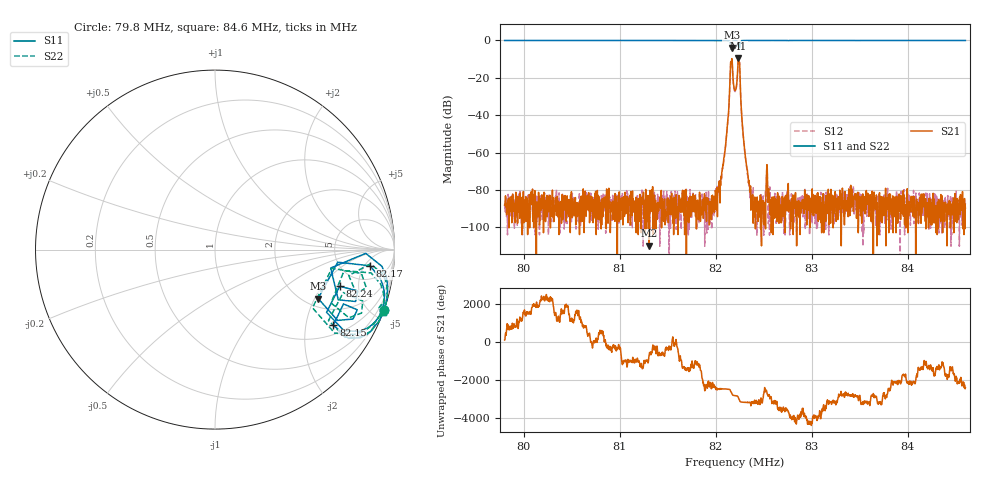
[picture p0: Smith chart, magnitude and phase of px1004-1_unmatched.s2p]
!PX1004-1 UNMATCHED
# HZ S RI R 50
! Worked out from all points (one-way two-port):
!   1601 points, 79.8 MHz to 84.6 MHz, reference 50 ohm
!   highest |S21| = -9.39 dB at 82.24 MHz (marker M1); lowest = -109.8 dB at 81.31 MHz (marker M2)
!   lowest |S11| = -3.9 dB at 82.17 MHz (marker M3), VSWR 4.50, Z = 117 - j107 ohm
!   |S11| at or under -10 dB: nowhere
!   |S22| runs from -4.0 to 0.0 dB; largest |S21 - S12| = 0.019
!   S11 on the Smith chart (normalised r, x): 79.8 MHz: 0.03, -5.80; 82.15 MHz: 1.32, -2.87; 82.17 MHz: 9, -7; 82.24 MHz: 3.53, -3.03; 84.6 MHz: 0.03, -5.55
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7.98e7  0.9406 -0.3342  -4.3e-06 3.93e-05  -2.49e-05 3.49e-05  0.9423 -0.3339
8.0601e7  0.9392 -0.3381  1.92e-05 -8.1e-06  1.84e-05 2.53e-05  0.9401 -0.3384
8.1306e7  0.9382 -0.3432  3.1e-06 9e-07  1.13e-05 2.35e-05  0.9378 -0.3432
8.1402e7  0.9377 -0.3444  8.4e-06 2.94e-05  -4.12e-05 5.04e-05  0.9381 -0.3436
8.2026e7  0.9277 -0.367  3.87e-05 9.93e-05  2.19e-05 7.92e-05  0.9295 -0.3665
8.2062e7  0.9242 -0.3755  0.00016 0.00025  8.2e-05 0.000257  0.9253 -0.3754
8.2095e7  0.9177 -0.3898  0.000518 0.000933  0.000487 0.000976  0.9195 -0.388
8.2119e7  0.9039 -0.4118  0.00284 0.00389  0.00252 0.00391  0.9059 -0.4106
8.2152e7  0.6593 -0.4211  0.1874 -0.0756  0.1892 -0.0739  0.6325 -0.3951
8.2167e7  0.5748 -0.2725  -0.3228 -0.0475  -0.3193 -0.0434  0.6466 -0.2971
8.2173e7  0.8643 -0.0904  -0.0862 0.1832  -0.0781 0.168  0.8698 -0.1297
8.22e7  0.9315 -0.3335  0.0142 0.0434  0.0114 0.0414  0.929 -0.3421
8.2236e7  0.6951 -0.2043  0.2029 -0.2717  0.1937 -0.2556  0.6513 -0.104
8.2254e7  0.9297 -0.0929  -0.0355 0.07  -0.0324 0.0629  0.9312 -0.1317
8.2284e7  0.9595 -0.2653  0.000193 0.00325  6.06e-05 0.00306  0.958 -0.2703
8.2314e7  0.9536 -0.2936  0.000102 0.000594  8.03e-05 0.000556  0.9533 -0.2964
8.2344e7  0.9501 -0.3065  7.71e-05 0.000157  4.5e-06 0.000143  0.9501 -0.3086
8.2374e7  0.9483 -0.3141  -8.9e-06 3.12e-05  2.1e-05 0.000101  0.9485 -0.3155
8.2551e7  0.9429 -0.3281  4.23e-05 9.97e-05  -3.54e-05 7.76e-05  0.9443 -0.3238
8.3001e7  0.9397 -0.3387  -9e-06 3.12e-05  3.7e-06 1.85e-05  0.9401 -0.3393
8.3802e7  0.9369 -0.3446  1.3e-06 7.1e-06  -2.17e-05 5.28e-05  0.9374 -0.3446
8.46e7  0.9353 -0.3482  -1.54e-05 2.93e-05  1.5e-05 4.25e-05  0.9361 -0.3484
